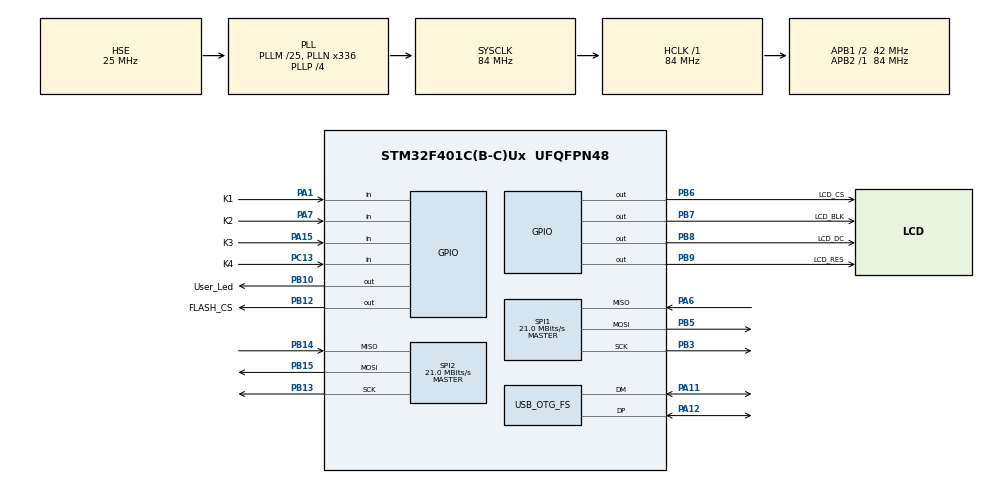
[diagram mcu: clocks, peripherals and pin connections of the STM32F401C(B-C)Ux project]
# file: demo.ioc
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Dma.Request0=SPI1_TX
Dma.Request1=SPI2_RX
Dma.Request2=SPI2_TX
Dma.SPI1_TX.0.Direction=DMA_MEMORY_TO_PERIPH
Dma.SPI1_TX.0.FIFOMode=DMA_FIFOMODE_DISABLE
Dma.SPI1_TX.0.Instance=DMA2_Stream3
Dma.SPI1_TX.0.MemDataAlignment=DMA_MDATAALIGN_BYTE
Dma.SPI1_TX.0.MemInc=DMA_MINC_ENABLE
Dma.SPI1_TX.0.Mode=DMA_NORMAL
Dma.SPI1_TX.0.PeriphDataAlignment=DMA_PDATAALIGN_BYTE
Dma.SPI1_TX.0.PeriphInc=DMA_PINC_DISABLE
Dma.SPI1_TX.0.Priority=DMA_PRIORITY_MEDIUM
Dma.SPI2_RX.1.Direction=DMA_PERIPH_TO_MEMORY
Dma.SPI2_RX.1.FIFOMode=DMA_FIFOMODE_DISABLE
Dma.SPI2_RX.1.Instance=DMA1_Stream3
Dma.SPI2_RX.1.MemDataAlignment=DMA_MDATAALIGN_BYTE
Dma.SPI2_RX.1.MemInc=DMA_MINC_ENABLE
Dma.SPI2_RX.1.Mode=DMA_NORMAL
Dma.SPI2_RX.1.PeriphDataAlignment=DMA_PDATAALIGN_BYTE
Dma.SPI2_RX.1.PeriphInc=DMA_PINC_DISABLE
Dma.SPI2_RX.1.Priority=DMA_PRIORITY_LOW
Dma.SPI2_TX.2.Direction=DMA_MEMORY_TO_PERIPH
Dma.SPI2_TX.2.FIFOMode=DMA_FIFOMODE_DISABLE
Dma.SPI2_TX.2.Instance=DMA1_Stream4
Dma.SPI2_TX.2.MemDataAlignment=DMA_MDATAALIGN_BYTE
Dma.SPI2_TX.2.MemInc=DMA_MINC_ENABLE
Dma.SPI2_TX.2.Mode=DMA_NORMAL
Dma.SPI2_TX.2.PeriphDataAlignment=DMA_PDATAALIGN_BYTE
Dma.SPI2_TX.2.PeriphInc=DMA_PINC_DISABLE
Dma.SPI2_TX.2.Priority=DMA_PRIORITY_LOW
FATFS._CODE_PAGE=936
FATFS._MAX_SS=4096
FATFS._MIN_SS=4096
Mcu.Family=STM32F4
Mcu.Name=STM32F401C(B-C)Ux
Mcu.Package=UFQFPN48
NVIC.DMA1_Stream3_IRQn=true\:4\:0\:true\:false\:true\:false\:true
NVIC.DMA1_Stream4_IRQn=true\:4\:0\:true\:false\:true\:false\:true
NVIC.DMA2_Stream3_IRQn=true\:4\:0\:true\:false\:true\:false\:true
NVIC.OTG_FS_IRQn=true\:0\:0\:false\:false\:true\:false\:true
NVIC.PriorityGroup=NVIC_PRIORITYGROUP_4
NVIC.TIM1_UP_TIM10_IRQn=true\:1\:0\:true\:false\:true\:true\:true
PA1.GPIO_Label=K1
PA1.GPIO_PuPd=GPIO_PULLUP
PA1.Signal=GPIO_Input
PA11.Mode=Device_Only
PA11.Signal=USB_OTG_FS_DM
PA12.Mode=Device_Only
PA12.Signal=USB_OTG_FS_DP
PA13.Mode=Serial_Wire
PA13.Signal=SYS_JTMS-SWDIO
PA14.Mode=Serial_Wire
PA14.Signal=SYS_JTCK-SWCLK
PA15.GPIO_Label=K3
PA15.GPIO_PuPd=GPIO_PULLUP
PA15.Signal=GPIO_Input
PA2.Signal=USART2_TX
PA3.Signal=USART2_RX
PA6.Mode=Full_Duplex_Master
PA6.Signal=SPI1_MISO
PA7.GPIO_Label=K2
PA7.GPIO_PuPd=GPIO_PULLUP
PA7.Signal=GPIO_Input
PB10.GPIO_Label=User_Led
PB10.Signal=GPIO_Output
PB12.GPIO_Label=FLASH_CS
PB12.GPIO_PuPd=GPIO_PULLUP
PB12.GPIO_Speed=GPIO_SPEED_FREQ_VERY_HIGH
PB12.Signal=GPIO_Output
PB13.Mode=Full_Duplex_Master
PB13.Signal=SPI2_SCK
PB14.Mode=Full_Duplex_Master
PB14.Signal=SPI2_MISO
PB15.Mode=Full_Duplex_Master
PB15.Signal=SPI2_MOSI
PB3.Mode=Full_Duplex_Master
PB3.Signal=SPI1_SCK
PB5.Mode=Full_Duplex_Master
PB5.Signal=SPI1_MOSI
PB6.GPIO_Label=LCD_CS
PB6.GPIO_PuPd=GPIO_PULLUP
PB6.GPIO_Speed=GPIO_SPEED_FREQ_VERY_HIGH
PB6.PinState=GPIO_PIN_SET
PB6.Signal=GPIO_Output
PB7.GPIO_Label=LCD_BLK
PB7.GPIO_PuPd=GPIO_PULLDOWN
PB7.GPIO_Speed=GPIO_SPEED_FREQ_MEDIUM
PB7.PinState=GPIO_PIN_SET
PB7.Signal=GPIO_Output
PB8.GPIO_Label=LCD_DC
PB8.GPIO_PuPd=GPIO_PULLUP
PB8.GPIO_Speed=GPIO_SPEED_FREQ_VERY_HIGH
PB8.PinState=GPIO_PIN_SET
PB8.Signal=GPIO_Output
PB9.GPIO_Label=LCD_RES
PB9.GPIO_PuPd=GPIO_PULLUP
PB9.GPIO_Speed=GPIO_SPEED_FREQ_VERY_HIGH
PB9.PinState=GPIO_PIN_SET
PB9.Signal=GPIO_Output
PC13-ANTI_TAMP.GPIO_Label=K4
PC13-ANTI_TAMP.GPIO_PuPd=GPIO_PULLUP
PC13-ANTI_TAMP.Signal=GPIO_Input
PC14-OSC32_IN.Mode=LSE-External-Oscillator
PC14-OSC32_IN.Signal=RCC_OSC32_IN
PC15-OSC32_OUT.Mode=LSE-External-Oscillator
PC15-OSC32_OUT.Signal=RCC_OSC32_OUT
PH0\ -\ OSC_IN.Mode=HSE-External-Oscillator
PH0\ -\ OSC_IN.Signal=RCC_OSC_IN
PH1\ -\ OSC_OUT.Mode=HSE-External-Oscillator
PH1\ -\ OSC_OUT.Signal=RCC_OSC_OUT
ProjectManager.HeapSize=0x1500
ProjectManager.StackSize=0x1500
ProjectManager.TargetToolchain=MDK-ARM V5
RCC.48MHZClocksFreq_Value=48000000
RCC.AHBFreq_Value=84000000
RCC.APB1CLKDivider=RCC_HCLK_DIV2
RCC.APB1Freq_Value=42000000
RCC.APB1TimFreq_Value=84000000
RCC.APB2Freq_Value=84000000
RCC.APB2TimFreq_Value=84000000
RCC.CortexFreq_Value=84000000
RCC.HCLKFreq_Value=84000000
RCC.HSE_VALUE=25000000
RCC.HSI_VALUE=16000000
RCC.PLLM=25
RCC.PLLN=336
RCC.PLLP=RCC_PLLP_DIV4
RCC.PLLQ=7
RCC.RCC_RTC_Clock_Source=RCC_RTCCLKSOURCE_LSE
RCC.RCC_RTC_Clock_SourceVirtual=RCC_RTCCLKSOURCE_LSE
RCC.SYSCLKFreq_VALUE=84000000
RCC.SYSCLKSource=RCC_SYSCLKSOURCE_PLLCLK
RCC.VCOOutputFreq_Value=336000000
SPI1.BaudRatePrescaler=SPI_BAUDRATEPRESCALER_4
SPI1.CLKPhase=SPI_PHASE_1EDGE
SPI1.CLKPolarity=SPI_POLARITY_LOW
SPI1.CalculateBaudRate=21.0 MBits/s
SPI1.Direction=SPI_DIRECTION_2LINES
SPI1.Mode=SPI_MODE_MASTER
SPI1.VirtualType=VM_MASTER
SPI2.BaudRatePrescaler=SPI_BAUDRATEPRESCALER_2
SPI2.CLKPolarity=SPI_POLARITY_LOW
SPI2.CRCCalculation=SPI_CRCCALCULATION_DISABLE
SPI2.CalculateBaudRate=21.0 MBits/s
SPI2.Direction=SPI_DIRECTION_2LINES
SPI2.Mode=SPI_MODE_MASTER
SPI2.VirtualType=VM_MASTER
TIM10.AutoReloadPreload=TIM_AUTORELOAD_PRELOAD_ENABLE
TIM10.Period=1000-1
TIM10.Prescaler=72-1
USB_DEVICE.CLASS_NAME_FS=MSC
USB_DEVICE.MSC_MEDIA_PACKET=4096
USB_DEVICE.VirtualMode=Msc
USB_DEVICE.VirtualModeFS=Msc_FS
USB_OTG_FS.VirtualMode=Device_Only
VP_FATFS_VS_Generic.Mode=User_defined
VP_RTC_VS_RTC_Activate.Mode=RTC_Enabled
VP_RTC_VS_RTC_Calendar.Mode=RTC_Calendar
VP_TIM10_VS_ClockSourceINT.Mode=Enable_Timer
VP_USB_DEVICE_VS_USB_DEVICE_MSC_FS.Mode=MSC_FS
board=custom

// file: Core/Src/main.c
/* USER CODE BEGIN Header */
/**
 ******************************************************************************
 * @file           : main.c
 * @brief          : Main program body
 ******************************************************************************
 * @attention
 *
 * <h2><center>&copy; Copyright (c) 2021 STMicroelectronics.
 * All rights reserved.</center></h2>
 *
 * This software component is licensed by ST under Ultimate Liberty license
 * SLA0044, the "License"; You may not use this file except in compliance with
 * the License. You may obtain a copy of the License at:
 *                             www.st.com/SLA0044
 *
 ******************************************************************************
 */
/* USER CODE END Header */
#include "main.h"
#include "dma.h"
#include "fatfs.h"
#include "rtc.h"
#include "spi.h"
#include "tim.h"
#include "usb_device.h"
#include "gpio.h"

/* USER CODE BEGIN Includes */
#include "w25qxx.h"
#include "lcd_init.h"
#include "lcd.h"
#include "pic.h"
#include "stdio.h"
#include "lvgl.h"
#include "lv_port_disp.h"
#include "lv_ex_conf.h"
#include "lv_examples.h"
#include "lv_demo_widgets.h"
#include "my_lib.h"
#include "lv_port_indev.h"
#include "bmp.h"
#include "lv_port_fs.h"
//#include "tt0.h"
//#include "tt1.h"
//#include "tt2.h"
//#include "tt3.h"
//#include "tt4.h"
//#include "tt5.h"
//#include "tt6.h"
#include "delay.h"
/* USER CODE END Includes */

void SystemClock_Config(void);

/* USER CODE BEGIN 0 */
extern uint16_t light_lcd;
extern RTC_DateTypeDef GetData;
extern RTC_TimeTypeDef GetTime;
extern uint8_t text[50];
extern uint8_t aRxBuffer[5];

extern lv_fs_res_t lv_res;
extern lv_fs_file_t lv_file;
uint32_t num_f;
/****************************/
void my_lvgl_fs_test(void)
{
    lv_fs_file_t lv_file;

    lv_res = lv_fs_open(&lv_file, "F:/myFont.bin", LV_FS_MODE_RD);
    lv_fs_read(&lv_file, text, 50, &num_f);
    lv_fs_close(&lv_file);
}

static void my_lvgl_test(void)
{
    /* 创建img btn */
    lv_obj_t *imgbtn = lv_imgbtn_create(lv_scr_act(), NULL);
    /* 设置imgbtn在被按下时显示所调用的图片 */
    lv_imgbtn_set_src(imgbtn, LV_BTN_STATE_PRESSED, "F:/1.bin");
    /* 设置imgbtn在被释放时显示所调用的图片 */
    lv_imgbtn_set_src(imgbtn, LV_BTN_STATE_RELEASED, "F:/1.bin");
    /* 居中对齐 */
    lv_obj_align(imgbtn, NULL, LV_ALIGN_CENTER, 0, 0);
}
lv_mem_monitor_t mem_monitor;
static void lvgl_init(void)
{
    lv_init();
    lv_port_disp_init();  // 显示器初始化
    lv_port_indev_init(); // 输入设备初始化
    lv_port_fs_init();    // 文件系统设备初始化
    lv_mem_monitor(&mem_monitor);
}
extern RTC_DateTypeDef GetData;
extern RTC_TimeTypeDef GetTime;
uint32_t resCount = 0;

/* USER CODE END 0 */

int main(void)
{

    /* MCU Configuration--------------------------------------------------------*/

    /* Reset of all peripherals, Initializes the Flash interface and the Systick. */
    HAL_Init();

    /* Configure the system clock */
    SystemClock_Config();

    /* USER CODE BEGIN SysInit */
    my_init();
    /* USER CODE END SysInit */

    /* Initialize all configured peripherals */
    MX_GPIO_Init();
    MX_RTC_Init();
    MX_TIM10_Init();
    MX_DMA_Init();
    MX_SPI1_Init();
    MX_FATFS_Init();
    MX_USB_DEVICE_Init();
    MX_SPI2_Init();
    /* USER CODE BEGIN 2 */
    //记得修改MX_FATFS_Init，为spidriver
    SPI_ReadWriteByte(0xff);
    W25QXX_Init();
    delay_init(72);
    HAL_TIM_Base_Start_IT(&htim10);
    LCD_Init();
    LCD_Fill(0, 0, 239, 239, WHITE);
    // while(1)
    // {
    // 		LCD_Fill(0,0,100,100,RED);
    // 		LCD_Fill(0,0,100,100,BLUE);
    // }
    lvgl_init();
    // my_lvgl_fs_test();
    // FatfsTest();
    // 	lv_res = lv_fs_open(&lv_file,"F:/hello.txt", LV_FS_MODE_WR);// 创建一个文件
    // 	lv_res = lv_fs_write(&lv_file,"hellobug esp32", sizeof("hellobug esp32"), &resCount);// 创建一个文件
    // lv_fs_close(&lv_file);
    btnm_test();
    analog(lv_scr_act());

    //  my_lvgl_fs_test();
    // analog();
    // test_lv_font();
    //    HAL_Delay(100);
    //
    // my_lvgl_fs_test();
    //	my_lvgl_test();
    // FatfsTest();
    //    lv_init();
    //    lv_port_disp_init();
    //    lv_port_indev_init();

    /* USER CODE END 2 */

    /* Infinite loop */
    while (1)
    {

        /* USER CODE BEGIN 3 */
        // update_time(NULL);
        HAL_Delay(5);
        lv_task_handler();
    }
    /* USER CODE END 3 */
}

void SystemClock_Config(void)
{
    RCC_OscInitTypeDef RCC_OscInitStruct = {0};
    RCC_ClkInitTypeDef RCC_ClkInitStruct = {0};

    /** Configure the main internal regulator output voltage
     */
    __HAL_RCC_PWR_CLK_ENABLE();
    __HAL_PWR_VOLTAGESCALING_CONFIG(PWR_REGULATOR_VOLTAGE_SCALE2);
    /** Initializes the RCC Oscillators according to the specified parameters
     * in the RCC_OscInitTypeDef structure.
     */
    RCC_OscInitStruct.OscillatorType = RCC_OSCILLATORTYPE_HSE | RCC_OSCILLATORTYPE_LSE;
    RCC_OscInitStruct.HSEState = RCC_HSE_ON;
    RCC_OscInitStruct.LSEState = RCC_LSE_ON;
    RCC_OscInitStruct.PLL.PLLState = RCC_PLL_ON;
    RCC_OscInitStruct.PLL.PLLSource = RCC_PLLSOURCE_HSE;
    RCC_OscInitStruct.PLL.PLLM = 25;
    RCC_OscInitStruct.PLL.PLLN = 336;
    RCC_OscInitStruct.PLL.PLLP = RCC_PLLP_DIV4;
    RCC_OscInitStruct.PLL.PLLQ = 7;
    if (HAL_RCC_OscConfig(&RCC_OscInitStruct) != HAL_OK)
    {
        Error_Handler();
    }
    /** Initializes the CPU, AHB and APB buses clocks
     */
    RCC_ClkInitStruct.ClockType = RCC_CLOCKTYPE_HCLK | RCC_CLOCKTYPE_SYSCLK | RCC_CLOCKTYPE_PCLK1 | RCC_CLOCKTYPE_PCLK2;
    RCC_ClkInitStruct.SYSCLKSource = RCC_SYSCLKSOURCE_PLLCLK;
    RCC_ClkInitStruct.AHBCLKDivider = RCC_SYSCLK_DIV1;
    RCC_ClkInitStruct.APB1CLKDivider = RCC_HCLK_DIV2;
    RCC_ClkInitStruct.APB2CLKDivider = RCC_HCLK_DIV1;

    if (HAL_RCC_ClockConfig(&RCC_ClkInitStruct, FLASH_LATENCY_2) != HAL_OK)
    {
        Error_Handler();
    }
}

void Error_Handler(void)
{
    __disable_irq();
    while (1)
    {
    }
}

/************************ (C) COPYRIGHT STMicroelectronics *****END OF FILE****/
